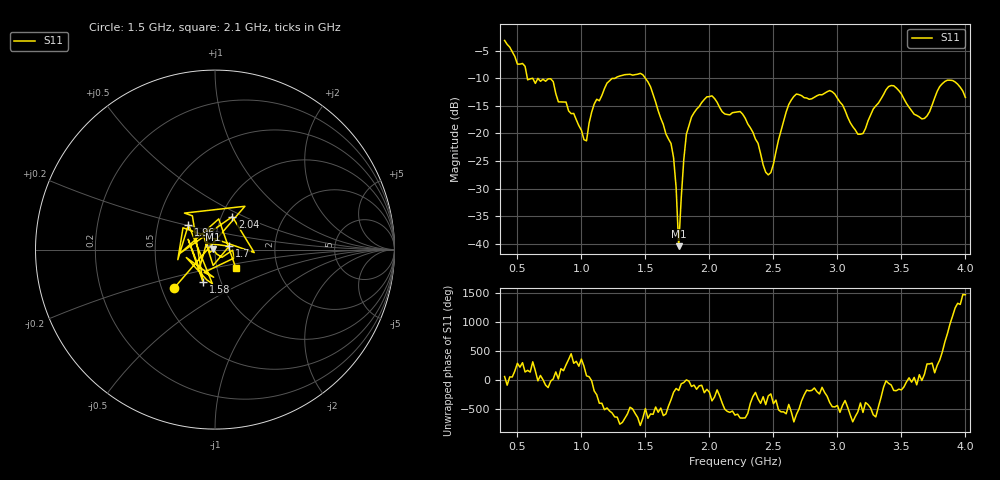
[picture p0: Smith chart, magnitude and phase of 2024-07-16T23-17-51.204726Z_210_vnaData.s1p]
!Created with skrf (http://scikit-rf.org).
# Hz S RI R 50.0
!freq ReS11 ImS11
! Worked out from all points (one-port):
!   181 points, 400 MHz to 4 GHz, reference 50 ohm
!   lowest |S11| = -40.5 dB at 1.76 GHz (marker M1), VSWR 1.02, Z = 49.1 + j0.0734 ohm
!   |S11| at or under -10 dB: 577.7 MHz to 618 MHz (40.28 MHz wide, 6.74 % of centre); 620.2 MHz to 1.262 GHz (641.8 MHz wide, 68.2 % of centre); 1.5 GHz to end of sweep
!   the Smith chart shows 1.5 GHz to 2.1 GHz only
!   S11 on the Smith chart (normalised r, x): 1.5 GHz: 0.58, -0.28; 1.58 GHz: 0.82, -0.31; 1.7 GHz: 1.17, +0.04; 1.96 GHz: 0.72, +0.21; 2.04 GHz: 1.13, +0.43; 2.1 GHz: 1.23, -0.27
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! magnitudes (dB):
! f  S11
! 400 MHz  -3.1
! 580 MHz  -10.3
! 760 MHz  -10.1
! 860 MHz  -14.3
! 1.04 GHz  -21.3
! 1.1 GHz  -14.7
! 1.3 GHz  -9.6
! 1.5 GHz  -10.0
! 1.58 GHz  -14.3
! 1.7 GHz  -21.8
! 1.74 GHz  -29.8
! 1.76 GHz  -40.5
! 1.82 GHz  -20.2
! 1.96 GHz  -13.8
! 2.04 GHz  -13.7
! 2.1 GHz  -16.1
! 2.2 GHz  -16.2
! 2.34 GHz  -19.8
! 2.46 GHz  -27.5
! 2.66 GHz  -13.3
! 2.94 GHz  -12.2
! 3.1 GHz  -18.0
! 3.2 GHz  -20.0
! 3.42 GHz  -11.3
! 3.56 GHz  -15.2
! 3.68 GHz  -17.3
! 3.86 GHz  -10.3
! 4 GHz  -13.5
